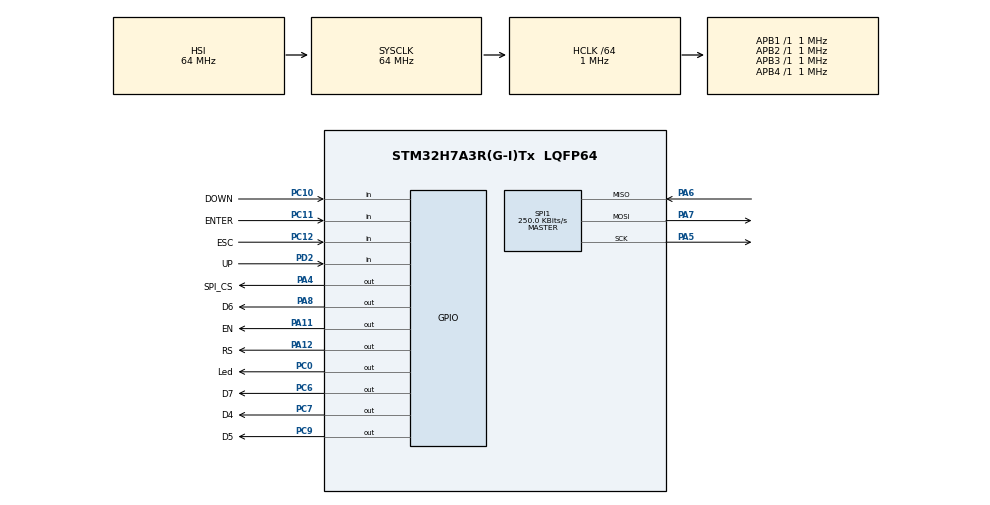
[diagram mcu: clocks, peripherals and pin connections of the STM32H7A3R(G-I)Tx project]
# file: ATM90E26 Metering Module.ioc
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CORTEX_M7.default_mode_Activation=1
Mcu.Family=STM32H7
Mcu.Name=STM32H7A3R(G-I)Tx
Mcu.Package=LQFP64
NVIC.PriorityGroup=NVIC_PRIORITYGROUP_4
PA11.GPIO_Label=EN
PA11.GPIO_Speed=GPIO_SPEED_FREQ_LOW
PA11.Signal=GPIO_Output
PA12.GPIO_Label=RS
PA12.GPIO_Speed=GPIO_SPEED_FREQ_LOW
PA12.Signal=GPIO_Output
PA13.Mode=Serial_Wire
PA13.Signal=DEBUG_JTMS-SWDIO
PA14.Mode=Serial_Wire
PA14.Signal=DEBUG_JTCK-SWCLK
PA4.GPIO_Label=SPI_CS
PA4.GPIO_Speed=GPIO_SPEED_FREQ_VERY_HIGH
PA4.PinState=GPIO_PIN_RESET
PA4.Signal=GPIO_Output
PA5.Mode=Full_Duplex_Master
PA5.Signal=SPI1_SCK
PA6.Mode=Full_Duplex_Master
PA6.Signal=SPI1_MISO
PA7.Mode=Full_Duplex_Master
PA7.Signal=SPI1_MOSI
PA8.GPIO_Label=D6
PA8.GPIO_Speed=GPIO_SPEED_FREQ_LOW
PA8.Signal=GPIO_Output
PC0.GPIO_Label=Led
PC0.Signal=GPIO_Output
PC10.GPIO_Label=DOWN
PC10.GPIO_PuPd=GPIO_PULLUP
PC10.Signal=GPIO_Input
PC11.GPIO_Label=ENTER
PC11.GPIO_PuPd=GPIO_PULLUP
PC11.Signal=GPIO_Input
PC12.GPIO_Label=ESC
PC12.GPIO_PuPd=GPIO_PULLUP
PC12.Signal=GPIO_Input
PC6.GPIO_Label=D7
PC6.GPIO_Speed=GPIO_SPEED_FREQ_LOW
PC6.Signal=GPIO_Output
PC7.GPIO_Label=D4
PC7.GPIO_Speed=GPIO_SPEED_FREQ_LOW
PC7.Signal=GPIO_Output
PC9.GPIO_Label=D5
PC9.Signal=GPIO_Output
PD2.GPIO_Label=UP
PD2.GPIO_PuPd=GPIO_PULLUP
PD2.Signal=GPIO_Input
ProjectManager.HeapSize=0x200
ProjectManager.StackSize=0x400
ProjectManager.TargetToolchain=STM32CubeIDE
RCC.ADCFreq_Value=129000000
RCC.APB1Freq_Value=1000000
RCC.APB2Freq_Value=1000000
RCC.APB3Freq_Value=1000000
RCC.APB4Freq_Value=1000000
RCC.CDCPRE=RCC_SYSCLK_DIV64
RCC.CortexFreq_Value=1000000
RCC.DIVM1=4
RCC.DIVN1=8
RCC.HCLKFreq_Value=1000000
RCC.PLL2FRACN=0
RCC.PLL3FRACN=0
RCC.PLLFRACN=0
RCC.SYSCLKFreq_VALUE=64000000
RCC.USBFreq_Value=64000000
SPI1.BaudRatePrescaler=SPI_BAUDRATEPRESCALER_256
SPI1.CLKPhase=SPI_PHASE_2EDGE
SPI1.CLKPolarity=SPI_POLARITY_HIGH
SPI1.CalculateBaudRate=250.0 KBits/s
SPI1.DataSize=SPI_DATASIZE_8BIT
SPI1.Direction=SPI_DIRECTION_2LINES
SPI1.Mode=SPI_MODE_MASTER
SPI1.NSSPMode=SPI_NSS_PULSE_DISABLE
SPI1.VirtualType=VM_MASTER
VP_MEMORYMAP_VS_MEMORYMAP.Mode=CurAppReg
board=custom

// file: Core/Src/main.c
/* USER CODE BEGIN Header */
/**
  ******************************************************************************
  * @file           : main.c
  * @brief          : Main program body
  ******************************************************************************
  * @attention
  *
  * Copyright (c) 2026 STMicroelectronics.
  * All rights reserved.
  *
  * This software is licensed under terms that can be found in the LICENSE file
  * in the root directory of this software component.
  * If no LICENSE file comes with this software, it is provided AS-IS.
  *
  ******************************************************************************
  */
/* USER CODE END Header */
#include "main.h"

/* USER CODE BEGIN Includes */
#include "20x4_LCD.h"
#include "ATM90E26_Metering.h"
/* USER CODE END Includes */

SPI_HandleTypeDef hspi1;

/* USER CODE BEGIN PV */

							/*======= System Error Indicating Variable =======*/

uint16_t System_Status;

							/*======= Register Read Variables =======*/
float vRMS;
float  iRMS;
float Freq;
float Apparent_Power;
uint16_t  lPF;
float Reactive_Power;
float Active_Power;
int16_t Phase_Angle;
float signedPF;
char line[32];
									/*======= Checksum Variables =======*/

uint16_t cs1 = 0;		// Explicite CheckSum1 Calculation
uint16_t cs2 = 0;		// Explicite CheckSum1 Calculation
uint16_t CS1 = 0;		// Implicite CheckSum1 Calculation
uint16_t CS2 = 0;		// Implicite CheckSum2 Calculation

								/*======= Function Variables for Debug =======*/
uint8_t rx_buf[3] = {0};
volatile char line2[30] = {0};
volatile char line1[30] = {0};

								/*======= Checksum Calculation Arrays =======*/

uint16_t meteringBlock[11] = {0x0015, 0xD174, 0x1D39, 0x0000, 0x0000, 0x0000, 0x08BD, 0x0000, 0x0AEC, 0x0000, 0x9422};
uint16_t measurementBlock[10] = {0x6720, 0x7A13, 0x7530, 0x0000, 0x0000, 0x0000, 0x0000, 0x0000, 0x0000, 0x0000};

								/* ===== Keypad Variables ===== */
typedef enum {
    STATE_WELCOME,
    STATE_MENU,
    STATE_LIVE_DATA
} SystemState_t;

SystemState_t currentState = STATE_WELCOME;
int cursorLine = 0; // 0 to 3 for our 4 menu items
char *menuItems[] = {
    "1. RMS Data",
    "2. PF & Frequency",
    "3. Ang & Apparent",
    "4. Act/React Power"
};

uint16_t pins[] = {UP_Pin, DOWN_Pin, ENTER_Pin, ESC_Pin};
GPIO_TypeDef* ports[] = {UP_GPIO_Port, DOWN_GPIO_Port, ENTER_GPIO_Port, ESC_GPIO_Port};

uint16_t pressedPin;
/* USER CODE END PV */

void SystemClock_Config(void);
static void MPU_Config(void);
static void MX_GPIO_Init(void);
static void MX_SPI1_Init(void);
/* USER CODE BEGIN PFP */
void   ATM90E26_Init();
uint16_t Read_Keypad_SinglePress(void);
/* USER CODE END PFP */

/* USER CODE BEGIN 0 */
uint16_t Read_Keypad_SinglePress(void) {
    for (int i = 0; i < 4; i++) {
        if (HAL_GPIO_ReadPin(ports[i], pins[i]) == GPIO_PIN_RESET) {
            HAL_Delay(40); // Debounce checking
            if (HAL_GPIO_ReadPin(ports[i], pins[i]) == GPIO_PIN_RESET) {
                // Waiting until release
                while (HAL_GPIO_ReadPin(ports[i], pins[i]) == GPIO_PIN_RESET);
                return pins[i]; // Return the specific pin that was pressed
            }
        }
    }
    return 0; // Else No button was pressed
}
/* USER CODE END 0 */

int main(void)
{

  /* MPU Configuration--------------------------------------------------------*/
  MPU_Config();

  /* MCU Configuration--------------------------------------------------------*/

  /* Reset of all peripherals, Initializes the Flash interface and the Systick. */
  HAL_Init();

  /* Configure the system clock */
  SystemClock_Config();

  /* Initialize all configured peripherals */
  MX_GPIO_Init();
  MX_SPI1_Init();
  /* USER CODE BEGIN 2 */
  HAL_Delay(1000);
  LCD_Init();
  HAL_Delay(100);
//  LCD_Init();
//  LCD_Clear();

  LCD_SetCursor(0,5);
  LCD_Print("Welcome,");
  LCD_SetCursor(1,2);
  LCD_Print("System Online!");
  LCD_SetCursor(2, 7);
  LCD_Print("~ Vaishnav");
  HAL_Delay(2000);

  currentState = STATE_MENU;

  ATM90E26_Init();

  ATM90E26_Metering_Enable();

  ATM90E26_Mesurement_Enable();

  // 1. Read registers

  /* USER CODE END 2 */

  /* Infinite loop */
  /* USER CODE BEGIN WHILE */
  while (1)
  {
	  //HAL_Delay(1000);
	  vRMS = ATM90_ReadReg(0x49)/ 100.0f;

// 1. Vrms
	  vRMS = (float)ATM90_ReadReg(0x49)/ 100.0f;// The concept on repeted reading is to tackel the value refresh error.(650,0,0,0,0.....)

// 2. Irms
	  iRMS = (float)ATM90_ReadReg(0x48) / 260.0f;
// 3. Power Factor
	  lPF = (float)ATM90_ReadReg(0x4D);
	  //  Check the Sign Bit (Bit 15)
	  if (lPF & 0x8000) {
	  // If Bit 15 is 1, the value is negative (Leading/Capacitive)
	  // Masking out the sign bit, convert to float, and make it negative
	  signedPF = (float)(lPF & 0x7FFF) / -1000.0f;
	  } else {
	  // If Bit 15 is 0, the value is positive (Lagging/Inductive)
	  signedPF = (float)lPF / 1000.0f;
	  }
	  //  Safety Check: PF cannot mathematically exceed 1.0
	  if (signedPF > 1.0f) signedPF = 1.0f;

	  if (signedPF < -1.0f) signedPF = -1.0f;

// 4. Frequency
	  Freq = (float)ATM90_ReadReg(0x4C)/100;

// 5. Aparent Power (S) : Unit - Volts Ampear(VA)
	  Apparent_Power = (float)ATM90_ReadReg(0x4F);

// 6. Active Power (P) : Unit - Watt (W)
	  Active_Power = (float)ATM90_ReadReg(0x4A) * 1.0f;

// 7. Reactive Power (Q) : Unit - VAR
	  Reactive_Power = (float)ATM90_ReadReg(0x4B);

// 8. Phase angle
	  Phase_Angle = (float)ATM90_ReadReg(0x4E)/100;

	  System_Status = ATM90_ReadReg(0x01); // Represents '0' if no errors in system or Checksum's

	  /* ============= 20x4 LCD & Keypad Section Starts ============= */

	  if (currentState == STATE_MENU) {

	  		  /* ====== 4 LINE MENU ====== */

	        for (int i = 0; i < 4; i++) {
	            LCD_SetCursor(i, 0);
	            if (i == cursorLine) LCD_Print("> ");
	            else LCD_Print("  ");
	            LCD_Print(menuItems[i]);
	        }

	        // Button Navigations
	        if (HAL_GPIO_ReadPin(UP_GPIO_Port, UP_Pin) == GPIO_PIN_RESET) {
	        	HAL_Delay(10); 		// Debounce Eleminate Delay
	        	if (HAL_GPIO_ReadPin(UP_GPIO_Port, UP_Pin) == GPIO_PIN_RESET) {
	            if (cursorLine > 0) cursorLine--;
	            while(HAL_GPIO_ReadPin(UP_GPIO_Port, UP_Pin) == GPIO_PIN_RESET);// Waits until the user releases the button and prevents contineus press(run) operation
	        	}
	        }
	        if (HAL_GPIO_ReadPin(DOWN_GPIO_Port, DOWN_Pin) == GPIO_PIN_RESET) {
	        	HAL_Delay(10);
	        	if (HAL_GPIO_ReadPin(DOWN_GPIO_Port, DOWN_Pin) == GPIO_PIN_RESET){
	            if (cursorLine < 3) cursorLine++;
	            while(HAL_GPIO_ReadPin(DOWN_GPIO_Port, DOWN_Pin) == GPIO_PIN_RESET);
	        	}
	        }
	        if (HAL_GPIO_ReadPin(ENTER_GPIO_Port, ENTER_Pin) == GPIO_PIN_RESET) {
	        	HAL_Delay(10);
	        	if (HAL_GPIO_ReadPin(ENTER_GPIO_Port, ENTER_Pin) == GPIO_PIN_RESET) {
	        	currentState = STATE_LIVE_DATA;
	        	LCD_Clear();
	        	while(HAL_GPIO_ReadPin(ENTER_GPIO_Port, ENTER_Pin) == GPIO_PIN_RESET);
	        	}
	        }
	  }
	    	else if (currentState == STATE_LIVE_DATA) {

	        /* ======== 3. DISPLAY LIVE VARIABLES ======= */

	        Display_Live_Values(cursorLine);

	        // Press ESC to return to Menu
	        if (HAL_GPIO_ReadPin(ESC_GPIO_Port, ESC_Pin) == GPIO_PIN_RESET) {
	            currentState = STATE_MENU;
	            LCD_Clear();

	        }
	    }

    /* USER CODE END WHILE */

  }
}

void SystemClock_Config(void)
{
  RCC_OscInitTypeDef RCC_OscInitStruct = {0};
  RCC_ClkInitTypeDef RCC_ClkInitStruct = {0};

  /*AXI clock gating */
  RCC->CKGAENR = 0xE003FFFF;

  /** Supply configuration update enable
  */
  HAL_PWREx_ConfigSupply(PWR_LDO_SUPPLY);

  /** Configure the main internal regulator output voltage
  */
  __HAL_PWR_VOLTAGESCALING_CONFIG(PWR_REGULATOR_VOLTAGE_SCALE3);

  while(!__HAL_PWR_GET_FLAG(PWR_FLAG_VOSRDY)) {}

  /** Initializes the RCC Oscillators according to the specified parameters
  * in the RCC_OscInitTypeDef structure.
  */
  RCC_OscInitStruct.OscillatorType = RCC_OSCILLATORTYPE_HSI;
  RCC_OscInitStruct.HSIState = RCC_HSI_DIV1;
  RCC_OscInitStruct.HSICalibrationValue = 64;
  RCC_OscInitStruct.PLL.PLLState = RCC_PLL_ON;
  RCC_OscInitStruct.PLL.PLLSource = RCC_PLLSOURCE_HSI;
  RCC_OscInitStruct.PLL.PLLM = 4;
  RCC_OscInitStruct.PLL.PLLN = 8;
  RCC_OscInitStruct.PLL.PLLP = 2;
  RCC_OscInitStruct.PLL.PLLQ = 2;
  RCC_OscInitStruct.PLL.PLLR = 2;
  RCC_OscInitStruct.PLL.PLLRGE = RCC_PLL1VCIRANGE_3;
  RCC_OscInitStruct.PLL.PLLVCOSEL = RCC_PLL1VCOWIDE;
  RCC_OscInitStruct.PLL.PLLFRACN = 0;
  if (HAL_RCC_OscConfig(&RCC_OscInitStruct) != HAL_OK)
  {
    Error_Handler();
  }

  /** Initializes the CPU, AHB and APB buses clocks
  */
  RCC_ClkInitStruct.ClockType = RCC_CLOCKTYPE_HCLK|RCC_CLOCKTYPE_SYSCLK
                              |RCC_CLOCKTYPE_PCLK1|RCC_CLOCKTYPE_PCLK2
                              |RCC_CLOCKTYPE_D3PCLK1|RCC_CLOCKTYPE_D1PCLK1;
  RCC_ClkInitStruct.SYSCLKSource = RCC_SYSCLKSOURCE_HSI;
  RCC_ClkInitStruct.SYSCLKDivider = RCC_SYSCLK_DIV64;
  RCC_ClkInitStruct.AHBCLKDivider = RCC_HCLK_DIV1;
  RCC_ClkInitStruct.APB3CLKDivider = RCC_APB3_DIV1;
  RCC_ClkInitStruct.APB1CLKDivider = RCC_APB1_DIV1;
  RCC_ClkInitStruct.APB2CLKDivider = RCC_APB2_DIV1;
  RCC_ClkInitStruct.APB4CLKDivider = RCC_APB4_DIV1;

  if (HAL_RCC_ClockConfig(&RCC_ClkInitStruct, FLASH_LATENCY_0) != HAL_OK)
  {
    Error_Handler();
  }
}

static void MX_SPI1_Init(void)
{

  /* SPI1 parameter configuration*/
  hspi1.Instance = SPI1;
  hspi1.Init.Mode = SPI_MODE_MASTER;
  hspi1.Init.Direction = SPI_DIRECTION_2LINES;
  hspi1.Init.DataSize = SPI_DATASIZE_8BIT;
  hspi1.Init.CLKPolarity = SPI_POLARITY_HIGH;
  hspi1.Init.CLKPhase = SPI_PHASE_2EDGE;
  hspi1.Init.NSS = SPI_NSS_SOFT;
  hspi1.Init.BaudRatePrescaler = SPI_BAUDRATEPRESCALER_256;
  hspi1.Init.FirstBit = SPI_FIRSTBIT_MSB;
  hspi1.Init.TIMode = SPI_TIMODE_DISABLE;
  hspi1.Init.CRCCalculation = SPI_CRCCALCULATION_DISABLE;
  hspi1.Init.CRCPolynomial = 0x0;
  hspi1.Init.NSSPMode = SPI_NSS_PULSE_DISABLE;
  hspi1.Init.NSSPolarity = SPI_NSS_POLARITY_LOW;
  hspi1.Init.FifoThreshold = SPI_FIFO_THRESHOLD_01DATA;
  hspi1.Init.TxCRCInitializationPattern = SPI_CRC_INITIALIZATION_ALL_ZERO_PATTERN;
  hspi1.Init.RxCRCInitializationPattern = SPI_CRC_INITIALIZATION_ALL_ZERO_PATTERN;
  hspi1.Init.MasterSSIdleness = SPI_MASTER_SS_IDLENESS_00CYCLE;
  hspi1.Init.MasterInterDataIdleness = SPI_MASTER_INTERDATA_IDLENESS_00CYCLE;
  hspi1.Init.MasterReceiverAutoSusp = SPI_MASTER_RX_AUTOSUSP_DISABLE;
  hspi1.Init.MasterKeepIOState = SPI_MASTER_KEEP_IO_STATE_DISABLE;
  hspi1.Init.IOSwap = SPI_IO_SWAP_DISABLE;
  if (HAL_SPI_Init(&hspi1) != HAL_OK)
  {
    Error_Handler();
  }

}

static void MX_GPIO_Init(void)
{
  GPIO_InitTypeDef GPIO_InitStruct = {0};

  /* GPIO Ports Clock Enable */
  __HAL_RCC_GPIOC_CLK_ENABLE();
  __HAL_RCC_GPIOA_CLK_ENABLE();
  __HAL_RCC_GPIOD_CLK_ENABLE();

  /*Configure GPIO pin Output Level */
  HAL_GPIO_WritePin(GPIOC, Led_Pin|D7_Pin|D4_Pin|D5_Pin, GPIO_PIN_RESET);

  /*Configure GPIO pin Output Level */
  HAL_GPIO_WritePin(GPIOA, SPI_CS_Pin|D6_Pin|EN_Pin|RS_Pin, GPIO_PIN_RESET);

  /*Configure GPIO pins : Led_Pin D7_Pin D4_Pin D5_Pin */
  GPIO_InitStruct.Pin = Led_Pin|D7_Pin|D4_Pin|D5_Pin;
  GPIO_InitStruct.Mode = GPIO_MODE_OUTPUT_PP;
  GPIO_InitStruct.Pull = GPIO_NOPULL;
  GPIO_InitStruct.Speed = GPIO_SPEED_FREQ_LOW;
  HAL_GPIO_Init(GPIOC, &GPIO_InitStruct);

  /*Configure GPIO pin : SPI_CS_Pin */
  GPIO_InitStruct.Pin = SPI_CS_Pin;
  GPIO_InitStruct.Mode = GPIO_MODE_OUTPUT_PP;
  GPIO_InitStruct.Pull = GPIO_NOPULL;
  GPIO_InitStruct.Speed = GPIO_SPEED_FREQ_VERY_HIGH;
  HAL_GPIO_Init(SPI_CS_GPIO_Port, &GPIO_InitStruct);

  /*Configure GPIO pins : D6_Pin EN_Pin RS_Pin */
  GPIO_InitStruct.Pin = D6_Pin|EN_Pin|RS_Pin;
  GPIO_InitStruct.Mode = GPIO_MODE_OUTPUT_PP;
  GPIO_InitStruct.Pull = GPIO_NOPULL;
  GPIO_InitStruct.Speed = GPIO_SPEED_FREQ_LOW;
  HAL_GPIO_Init(GPIOA, &GPIO_InitStruct);

  /*Configure GPIO pins : DOWN_Pin ENTER_Pin ESC_Pin */
  GPIO_InitStruct.Pin = DOWN_Pin|ENTER_Pin|ESC_Pin;
  GPIO_InitStruct.Mode = GPIO_MODE_INPUT;
  GPIO_InitStruct.Pull = GPIO_PULLUP;
  HAL_GPIO_Init(GPIOC, &GPIO_InitStruct);

  /*Configure GPIO pin : UP_Pin */
  GPIO_InitStruct.Pin = UP_Pin;
  GPIO_InitStruct.Mode = GPIO_MODE_INPUT;
  GPIO_InitStruct.Pull = GPIO_PULLUP;
  HAL_GPIO_Init(UP_GPIO_Port, &GPIO_InitStruct);

}

 /* MPU Configuration */

void MPU_Config(void)
{
  MPU_Region_InitTypeDef MPU_InitStruct = {0};

  /* Disables the MPU */
  HAL_MPU_Disable();

  /** Initializes and configures the Region and the memory to be protected
  */
  MPU_InitStruct.Enable = MPU_REGION_ENABLE;
  MPU_InitStruct.Number = MPU_REGION_NUMBER0;
  MPU_InitStruct.BaseAddress = 0x0;
  MPU_InitStruct.Size = MPU_REGION_SIZE_4GB;
  MPU_InitStruct.SubRegionDisable = 0x87;
  MPU_InitStruct.TypeExtField = MPU_TEX_LEVEL0;
  MPU_InitStruct.AccessPermission = MPU_REGION_NO_ACCESS;
  MPU_InitStruct.DisableExec = MPU_INSTRUCTION_ACCESS_DISABLE;
  MPU_InitStruct.IsShareable = MPU_ACCESS_SHAREABLE;
  MPU_InitStruct.IsCacheable = MPU_ACCESS_NOT_CACHEABLE;
  MPU_InitStruct.IsBufferable = MPU_ACCESS_NOT_BUFFERABLE;

  HAL_MPU_ConfigRegion(&MPU_InitStruct);
  /* Enables the MPU */
  HAL_MPU_Enable(MPU_PRIVILEGED_DEFAULT);

}

void Error_Handler(void)
{
  __disable_irq();
  while (1)
  {
  }
}
